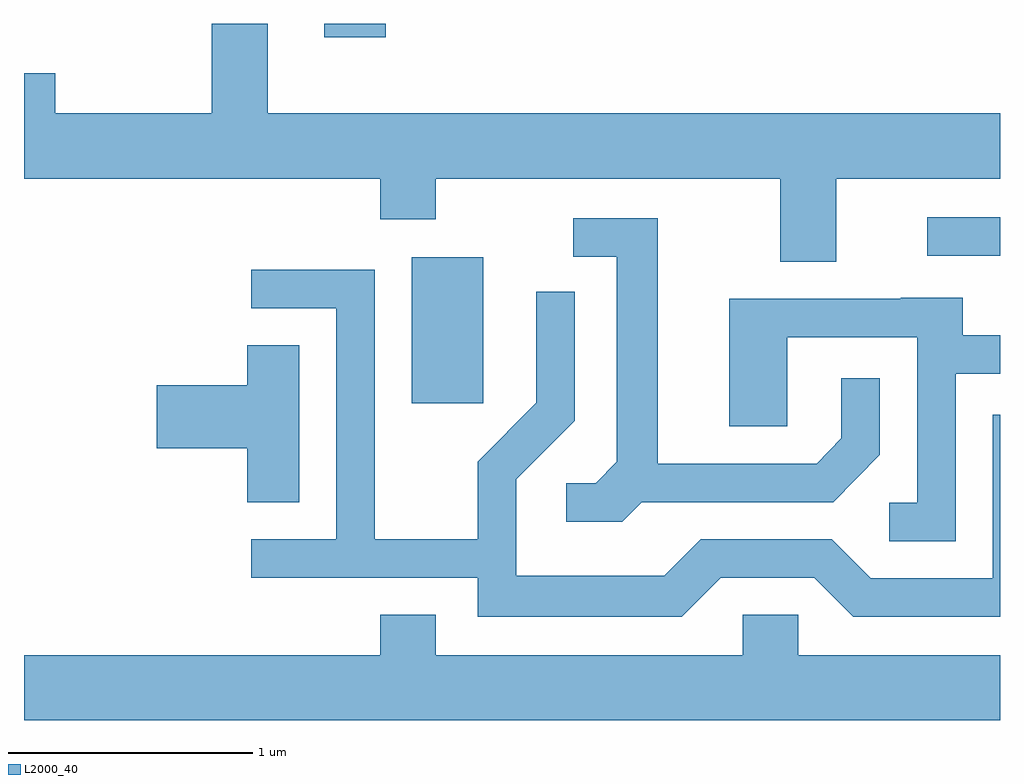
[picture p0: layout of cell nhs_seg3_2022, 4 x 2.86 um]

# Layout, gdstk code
import gdstk
lib = gdstk.Library(unit=1e-6, precision=1e-09)
def R(c, l, rs):  # rectangles x0, y0, x1, y1
    for r in rs: c.add(gdstk.rectangle(r[:2], r[2:], *l))
def P(c, l, *ps):  # polygons
    for p in ps: c.add(gdstk.Polygon(p, *l))
L2000_40 = (2000, 40)

nhs_seg3_2022 = lib.new_cell('nhs_seg3_2022')
R(nhs_seg3_2022, L2000_40, [(245.201,1218.336,245.494,1218.934), (247.313,1218.941,247.611,1219.099), (244.841,1219.836,245.094,1219.892)])
P(nhs_seg3_2022, L2000_40, [(244.609,1219.892),(244.381,1219.892),(244.381,1219.524),(243.739,1219.524),(243.739,1219.689),(243.611,1219.689),(243.611,1219.256),(245.071,1219.256),(245.071,1219.091),(245.299,1219.091),(245.299,1219.256),(246.711,1219.256),(246.711,1218.916),(246.939,1218.916),(246.939,1219.256),(247.611,1219.256),(247.611,1219.524),(244.609,1219.524)],
  [(246.142,1217.931),(246.927,1217.931),(247.119,1218.124),(247.119,1218.438),(246.961,1218.438),(246.961,1218.192),(246.859,1218.089),(246.209,1218.089),(246.209,1219.094),(245.863,1219.094),(245.863,1218.936),(246.041,1218.936),(246.041,1218.097),(245.954,1218.009),(245.833,1218.009),(245.833,1217.851),(246.062,1217.851)],
  [(246.467,1217.621),(246.849,1217.621),(247.009,1217.461),(247.611,1217.461),(247.611,1218.289),(247.581,1218.289),(247.581,1217.619),(247.082,1217.619),(246.922,1217.779),(246.384,1217.779),(246.234,1217.629),(245.629,1217.629),(245.629,1218.024),(245.869,1218.264),(245.869,1218.793),(245.711,1218.793),(245.711,1218.337),(245.471,1218.097),(245.471,1217.779),(245.049,1217.779),(245.049,1218.884),(244.543,1218.884),(244.543,1218.726),(244.891,1218.726),(244.891,1217.779),(244.543,1217.779),(244.543,1217.621),(245.471,1217.621),(245.471,1217.461),(246.307,1217.461)],
  [(247.429,1218.456),(247.611,1218.456),(247.611,1218.614),(247.459,1218.614),(247.459,1218.769),(247.205,1218.769),(247.205,1218.764),(246.501,1218.764),(246.501,1218.241),(246.739,1218.241),(246.739,1218.606),(247.271,1218.606),(247.271,1217.929),(247.158,1217.929),(247.158,1217.771),(247.429,1217.771)],
  [(244.739,1218.574),(244.526,1218.574),(244.526,1218.409),(244.156,1218.409),(244.156,1218.151),(244.526,1218.151),(244.526,1217.931),(244.739,1217.931)],
  [(247.611,1217.304),(246.784,1217.304),(246.784,1217.469),(246.556,1217.469),(246.556,1217.304),(245.299,1217.304),(245.299,1217.469),(245.071,1217.469),(245.071,1217.304),(243.611,1217.304),(243.611,1217.036),(247.611,1217.036)])

lib.write_gds('nhs_seg3_2022.gds')
